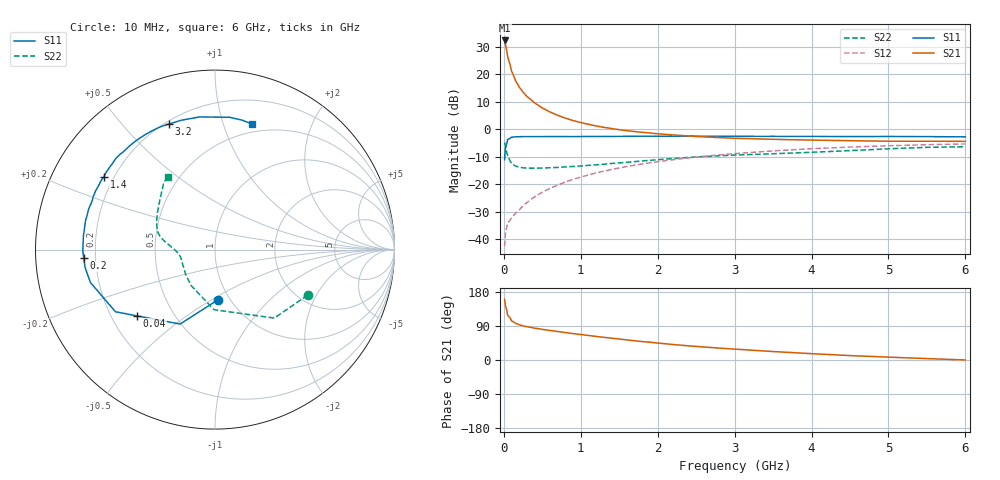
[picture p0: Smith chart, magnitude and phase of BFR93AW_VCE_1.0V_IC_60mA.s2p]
! (c) 2017  Infineon Technologies AG, Munich
! Infineon Technologies  Discrete & RF Semiconductors
! BFR93AW
! VCE =  1.0 V,  IC =  60 mA
! Common Emitter S-Parameters:  Jan 2017
# GHz  S  MA  R  50
!  f  S11  S21  S12  S22
! GHz  MAG  ANG  MAG  ANG  MAG  ANG  MAG  ANG
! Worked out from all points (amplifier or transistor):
!   77 points, 10 MHz to 6 GHz, reference 50 ohm
!   highest |S21| = 32.4 dB at 10 MHz (marker M1)
!   |S21| within 3 dB of that: start of sweep to 31.89 MHz
!   unconditionally stable (mu >= 1): start of sweep to 10.23 MHz; 122.5 MHz to end of sweep
!   at 130 MHz: K = 1.03, MAG = 24.3 dB, |S12| = -31.3 dB
!   at 2.2 GHz: K = 1.22, MAG = 1.7 dB, |S12| = -11.1 dB
!   at 6 GHz: K = 1.06, MAG = -1.1 dB, |S12| = -5.3 dB
!   S11 on the Smith chart (normalised r, x): 10 MHz: 0.88, -0.54; 40 MHz: 0.31, -0.34; 200 MHz: 0.15, -0.03; 1.4 GHz: 0.16, +0.29; 3.2 GHz: 0.22, +0.68; 6 GHz: 0.42, +1.25
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0.01  0.2799 -86.5  41.74 159.8  0.0074 58.7  0.5751 -26.2
0.02  0.4579 -115.1  36.24 143.6  0.0125 52.8  0.5046 -49.1
0.04  0.57 -139.6  25.42 129.6  0.0169 45.9  0.3662 -73.1
0.05  0.6537 -148.0  21 117.6  0.0192 43.6  0.3349 -90.9
0.1  0.7175 -165.1  11.52 103.1  0.024 46.4  0.2411 -123.2
0.15  0.7307 -172.1  7.827 97.0  0.0292 51.7  0.2149 -139.2
0.2  0.7326 -176.3  5.912 93.1  0.0339 56.3  0.2034 -148.3
0.25  0.7368 -179.4  4.76 90.1  0.0403 60.1  0.1984 -154.4
0.3  0.7356 178.0  3.98 87.9  0.0461 62.5  0.1965 -158.8
0.4  0.737 174.1  3.028 84.0  0.0586 66.1  0.1954 -164.3
0.5  0.7368 170.5  2.446 80.8  0.0715 67.3  0.1965 -168.0
0.6  0.7392 167.4  2.072 77.9  0.084 68.1  0.1999 -170.5
0.7  0.7379 164.6  1.801 75.2  0.0961 68.4  0.2018 -172.7
0.8  0.7394 161.9  1.6 72.3  0.1096 68.2  0.2063 -174.3
1.1  0.7414 153.9  1.233 64.7  0.1475 66.3  0.2202 -178.5
1.4  0.7407 146.7  1.034 57.5  0.1857 63.4  0.2382 177.6
2.1  0.7475 131.0  0.809 42.8  0.2683 55.0  0.2863 170.4
3.1  0.7464 111.8  0.681 27.5  0.369 42.2  0.3429 160.2
3.2  0.745 110.1  0.675 26.2  0.3776 40.9  0.3467 158.9
4.1  0.7421 95.3  0.633 15.7  0.4495 29.8  0.3865 145.4
5.1  0.7401 82.6  0.607 6.8  0.5061 18.3  0.4468 131.1
6  0.7291 73.4  0.603 0.1  0.5417 9.0  0.4815 123.2
